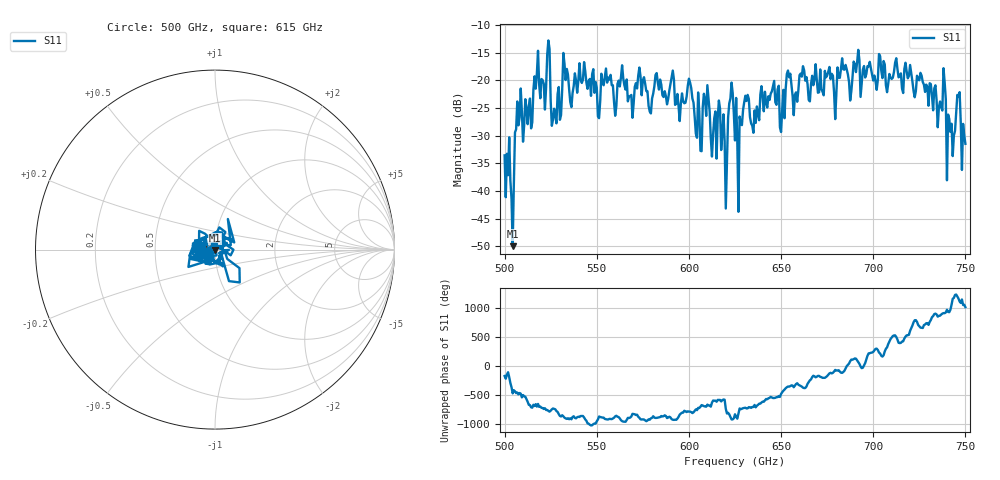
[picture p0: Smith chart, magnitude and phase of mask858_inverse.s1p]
!Created with skrf (http://scikit-rf.org).
# GHz S MA R 50.0
!freq magS11 angS11
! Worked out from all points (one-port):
!   401 points, 500 GHz to 750 GHz, reference 50 ohm
!   lowest |S11| = -50.0 dB at 504.4 GHz (marker M1), VSWR 1.01, Z = 49.9 - j0.294 ohm
!   |S11| at or under -10 dB: start of sweep to end of sweep
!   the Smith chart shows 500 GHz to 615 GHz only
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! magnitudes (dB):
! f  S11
! 500 GHz  -33.6
! 504.4 GHz  -50.0
! 507.5 GHz  -28.1
! 513.8 GHz  -23.3
! 516.9 GHz  -21.5
! 523.8 GHz  -12.8
! 526.9 GHz  -25.1
! 531.2 GHz  -21.6
! 562.5 GHz  -21.1
! 579.4 GHz  -26.0
! 590.6 GHz  -19.5
! 593.8 GHz  -22.5
! 600.6 GHz  -20.4
! 605.6 GHz  -25.7
! 609.4 GHz  -26.4
! 619.4 GHz  -31.0
! 622.5 GHz  -23.3
! 625 GHz  -30.9
! 627.5 GHz  -26.5
! 631.2 GHz  -23.7
! 635 GHz  -29.5
! 656.2 GHz  -22.8
! 687.5 GHz  -23.7
! 718.8 GHz  -19.6
! 738.1 GHz  -17.8
! 741.2 GHz  -27.0
! 746.2 GHz  -23.0
! 750 GHz  -31.5
